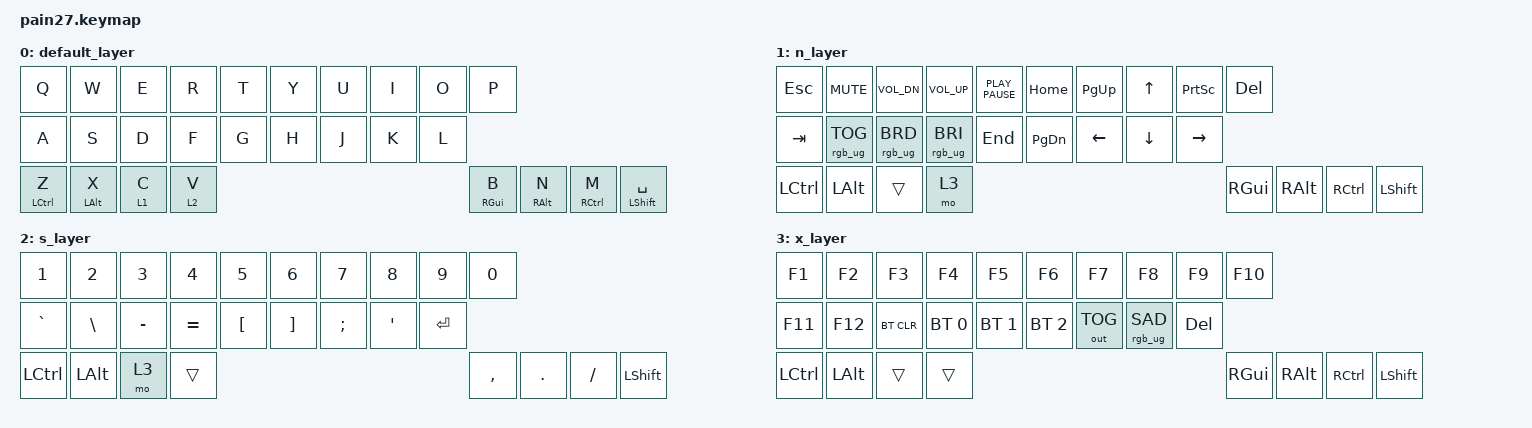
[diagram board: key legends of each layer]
#include <behaviors.dtsi>
#include <dt-bindings/zmk/keys.h>
#include <dt-bindings/zmk/outputs.h>
#include <dt-bindings/zmk/rgb.h>
#include <dt-bindings/zmk/bt.h>
#include <dt-bindings/zmk/outputs.h>

/*
 * Temporarily here because nice nano v2 spi is not defined on ZMk Yet
 * Source: https://github.com/zmkfirmware/zmk/blob/main/app/boards/shields/reviung41/boards/nice_nano.overlay
 * GitHub Issue: https://github.com/zmkfirmware/zmk/issues/885
 */

&spi1 {
   compatible = "nordic,nrf-spim";
   status = "okay";
   mosi-pin = <6>;
   // Unused pins, needed for SPI definition, but not used by the ws2812 driver itself.
   sck-pin = <5>;
   miso-pin = <7>;

   led_strip: ws2812@0 {
      compatible = "worldsemi,ws2812-spi";
      label = "WS2812";

      /* SPI */
      reg = <0>; /* ignored, but necessary for SPI bindings */
      spi-max-frequency = <4000000>;

      /* WS2812 */
      chain-length = <10>; /* arbitrary; change at will */
      spi-one-frame = <0x70>;
      spi-zero-frame = <0x40>;
   };
};

/ {
   chosen {
      zmk,underglow = &led_strip;
   };
};

/*
 * Temporarily here because nice nano v2 spi is not defined on ZMk YET
 */

/ {
    hm: homerow_mods {
        compatible = "zmk,behavior-hold-tap";
        label = "HOMEROW_MODS";
        #binding-cells = <2>;
        tapping_term_ms = <200>;
        flavor = "tap-preferred";
        bindings = <&kp>, <&kp>;
    };
        combos {
        compatible = "zmk,combos";
        combo_backspace {
          timeout-ms = <30>;
          key-positions = <8 9>;
          bindings = <&kp BACKSPACE>;
          layers = <0 1 2 3>;
         };
        combo_enter {
          timeout-ms = <30>;
          key-positions = <17 18>;
          bindings = <&kp ENTER>;
          layers = <0 1 2 3>;
         };
        combo_tab {
          timeout-ms = <30>;
          key-positions = <10 11>;
          bindings = <&kp TAB>;
          layers = <0 1 2 3>;
         };
        combo_esc {
          timeout-ms = <30>;
          key-positions = <0 1>;
          bindings = <&kp ESC>;
          layers = <0 1 2 3>;
         };
    };


    keymap {
        compatible = "zmk,keymap";
        default_layer {
            bindings = <
                &kp Q &kp W &kp E &kp R &kp T &kp Y &kp U &kp I &kp O &kp P
                &kp A &kp S &kp D &kp F &kp G &kp H &kp J &kp K &kp L
                &hm LCTRL Z  &hm LALT X &lt 1 C &lt 2 V &hm RGUI B &hm RALT N &hm RCTRL M &hm LSHFT SPACE
            >;
        };
        n_layer {
            bindings = <
                &kp ESC  &kp K_MUTE  &kp K_VOL_DN &kp K_VOL_UP  &kp K_PLAY_PAUSE  &kp HOME  &kp PAGE_UP &kp UP_ARROW &kp PRINTSCREEN &kp DELETE
                &kp TAB  &rgb_ug RGB_TOG  &rgb_ug RGB_BRD &rgb_ug RGB_BRI  &kp END  &kp PAGE_DOWN   &kp LEFT_ARROW  &kp DOWN_ARROW  &kp RIGHT_ARROW 
		&kp LCTRL &kp LALT &trans &mo 3 &kp RGUI &kp RALT &kp RCTRL &kp LSHFT
            >;
        };
        s_layer {
            bindings = <
                &kp N1   &kp N2  &kp N3 &kp N4  &kp N5 &kp N6  &kp N7   &kp N8   &kp N9 &kp N0
                &kp GRAVE &kp BACKSLASH   &kp MINUS &kp EQUAL  &kp LEFT_BRACKET  &kp RIGHT_BRACKET  &kp SEMICOLON &kp SINGLE_QUOTE &kp ENTER
                &kp LCTRL  &kp LALT &mo 3 &trans &kp COMMA  &kp PERIOD &kp SLASH &kp LSHFT
            >;
        };
        x_layer {
            bindings = <
                &kp F1   &kp F2  &kp F3 &kp F4  &kp F5 &kp F6  &kp F7   &kp F8   &kp F9 &kp F10
                &kp F11 &kp F12   &bt BT_CLR &bt BT_SEL 0  &bt BT_SEL 1  &bt BT_SEL 2  &out OUT_TOG &rgb_ug RGB_SAD &kp DELETE
                &kp LCTRL  &kp LALT &trans &trans &kp RGUI  &kp RALT &kp RCTRL &kp LSHFT
            >;
        };

    };
};
